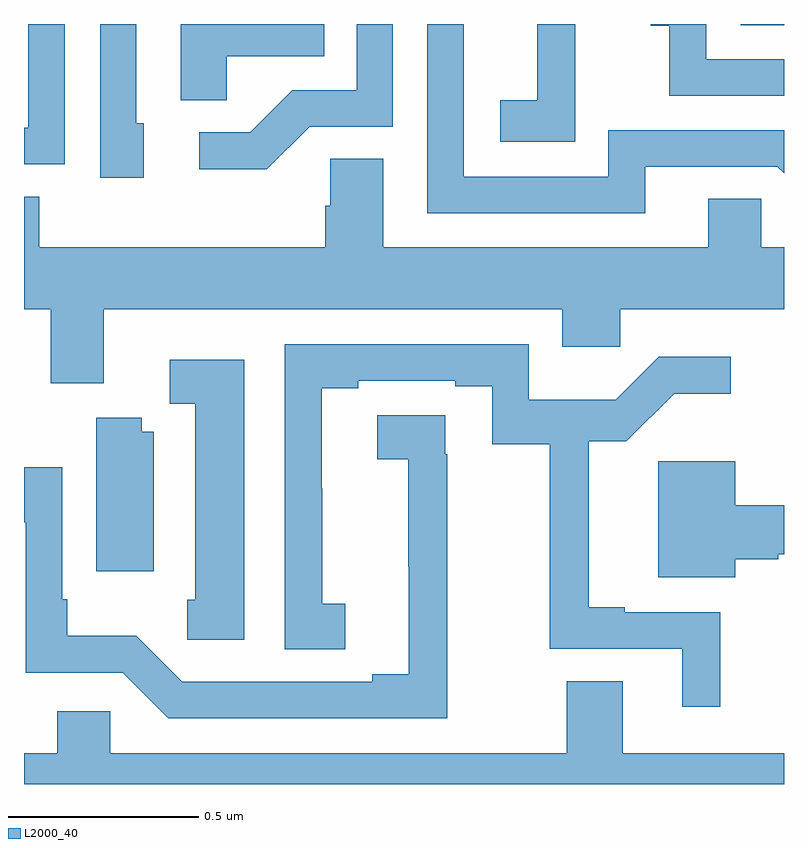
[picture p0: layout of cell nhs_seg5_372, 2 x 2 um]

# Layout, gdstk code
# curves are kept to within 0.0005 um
import gdstk
lib = gdstk.Library(unit=1e-6, precision=1e-09)
def R(c, l, rs):  # rectangles x0, y0, x1, y1
    for r in rs: c.add(gdstk.rectangle(r[:2], r[2:], *l))
def P(c, l, *ps):  # polygons
    for p in ps: c.add(gdstk.Polygon(p, *l))
L2000_40 = (2000, 40)

nhs_seg5_372 = lib.new_cell('nhs_seg5_372')
R(nhs_seg5_372, L2000_40, [(116.886,902.796,117,902.799)])
P(nhs_seg5_372, L2000_40, [(117,902.706),(116.796,902.706),(116.796,902.799),(116.649,902.799),(116.649,902.795),(116.698,902.795),(116.698,902.61),(117,902.61)],
  [(115.107,902.799),(115.011,902.799),(115.011,902.526),(115,902.526),(115,902.43),(115.107,902.43)],
  [(115.752,902.529),(115.971,902.529),(115.971,902.799),(115.875,902.799),(115.875,902.625),(115.706,902.625),(115.595,902.514),(115.461,902.514),(115.461,902.417),(115.639,902.417)],
  [(116.451,902.695),(116.45,902.695),(116.45,902.799),(116.351,902.799),(116.351,902.599),(116.253,902.599),(116.253,902.489),(116.451,902.489)],
  [(116.635,902.424),(116.982,902.424),(117,902.406),(117,902.52),(116.538,902.52),(116.538,902.397),(116.157,902.397),(116.157,902.799),(116.061,902.799),(116.061,902.301),(116.635,902.301)],
  [(115.315,902.538),(115.296,902.538),(115.296,902.799),(115.2,902.799),(115.2,902.394),(115.315,902.394)],
  [(115.533,902.714),(115.79,902.714),(115.79,902.799),(115.412,902.799),(115.412,902.599),(115.533,902.599)],
  [(115.21,902.048),(116.417,902.048),(116.417,901.95),(116.569,901.95),(116.569,902.048),(117,902.048),(117,902.212),(116.94,902.212),(116.94,902.339),(116.801,902.339),(116.801,902.212),(115.945,902.212),(115.945,902.444),(115.806,902.444),(115.806,902.321),(115.793,902.321),(115.793,902.212),(115.04,902.212),(115.04,902.345),(115,902.345),(115,902.048),(115.07,902.048),(115.07,901.854),(115.21,901.854)],
  [(116.832,901.251),(116.581,901.251),(116.581,901.264),(116.486,901.264),(116.486,901.701),(116.585,901.701),(116.711,901.826),(116.86,901.826),(116.86,901.923),(116.67,901.923),(116.557,901.81),(116.328,901.81),(116.328,901.956),(115.686,901.956),(115.686,901.153),(115.846,901.153),(115.846,901.273),(115.785,901.273),(115.785,901.577),(115.783,901.577),(115.783,901.84),(115.879,901.84),(115.879,901.86),(116.135,901.86),(116.135,901.846),(116.232,901.846),(116.232,901.693),(116.383,901.693),(116.383,901.155),(116.732,901.155),(116.732,901.002),(116.832,901.002)],
  [(115.579,901.915),(115.383,901.915),(115.383,901.8),(115.451,901.8),(115.451,901.284),(115.429,901.284),(115.429,901.179),(115.579,901.179)],
  [(116.114,901.667),(116.108,901.667),(116.108,901.769),(115.929,901.769),(115.929,901.654),(116.011,901.654),(116.012,901.088),(115.916,901.088),(115.916,901.068),(115.416,901.068),(115.295,901.189),(115.114,901.189),(115.114,901.285),(115.101,901.285),(115.101,901.633),(115,901.633),(115,901.488),(115.005,901.488),(115.005,901.092),(115.26,901.092),(115.38,900.972),(116.114,900.972)],
  [(115.342,901.726),(115.31,901.726),(115.31,901.763),(115.19,901.763),(115.19,901.359),(115.342,901.359)],
  [(116.872,901.391),(116.985,901.391),(116.985,901.403),(117,901.403),(117,901.533),(116.872,901.533),(116.872,901.648),(116.669,901.648),(116.669,901.343),(116.872,901.343)],
  [(117,900.88),(116.575,900.88),(116.575,901.07),(116.428,901.07),(116.428,900.88),(115.227,900.88),(115.227,900.99),(115.088,900.99),(115.088,900.88),(115,900.88),(115,900.799),(117,900.799)])

lib.write_gds('nhs_seg5_372.gds')
